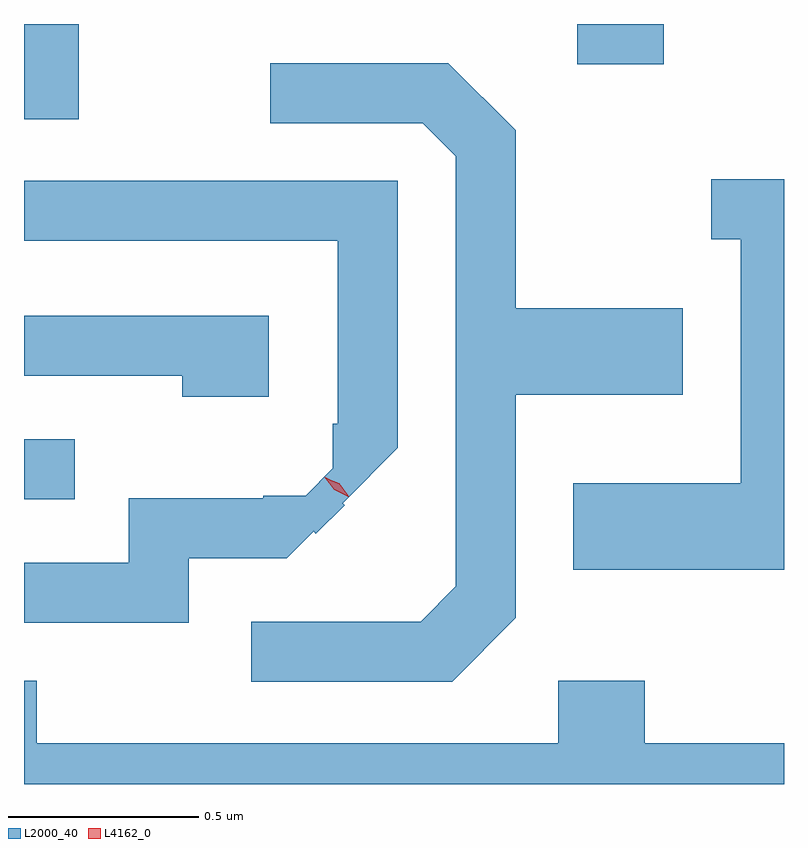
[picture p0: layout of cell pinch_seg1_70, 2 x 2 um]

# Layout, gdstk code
import gdstk
lib = gdstk.Library(unit=1e-6, precision=1e-09)
def R(c, l, rs):  # rectangles x0, y0, x1, y1
    for r in rs: c.add(gdstk.rectangle(r[:2], r[2:], *l))
def P(c, l, *ps):  # polygons
    for p in ps: c.add(gdstk.Polygon(p, *l))
L2000_40 = (2000, 40)
L4162_0 = (4162, 0)

pinch_seg1_70 = lib.new_cell('pinch_seg1_70')
R(pinch_seg1_70, L2000_40, [(1298.455,962.646,1298.588,962.804), (1298.455,963.646,1298.599,963.897), (1299.911,963.791,1300.139,963.897)])
P(pinch_seg1_70, L2000_40, [(1299.749,962.334),(1299.749,962.921),(1300.189,962.921),(1300.189,963.149),(1299.749,963.149),(1299.749,963.617),(1299.572,963.794),(1299.103,963.794),(1299.103,963.636),(1299.504,963.636),(1299.591,963.549),(1299.591,962.417),(1299.499,962.324),(1299.053,962.324),(1299.053,962.166),(1299.582,962.166)],
  [(1300.455,963.489),(1300.263,963.489),(1300.263,963.331),(1300.341,963.331),(1300.341,962.689),(1299.901,962.689),(1299.901,962.461),(1300.455,962.461)],
  [(1298.889,962.491),(1299.147,962.491),(1299.217,962.562),(1299.223,962.555),(1299.299,962.631),(1299.294,962.636),(1299.439,962.782),(1299.439,963.484),(1298.455,963.484),(1298.455,963.326),(1299.281,963.326),(1299.281,962.845),(1299.268,962.845),(1299.268,962.728),(1299.196,962.656),(1299.085,962.656),(1299.085,962.649),(1298.731,962.649),(1298.731,962.479),(1298.455,962.479),(1298.455,962.321),(1298.889,962.321)],
  [(1299.099,963.129),(1298.455,963.129),(1298.455,962.971),(1298.871,962.971),(1298.871,962.916),(1299.099,962.916)],
  [(1300.455,962.004),(1300.089,962.004),(1300.089,962.169),(1299.861,962.169),(1299.861,962.004),(1298.489,962.004),(1298.489,962.169),(1298.455,962.169),(1298.455,961.897),(1300.455,961.897)])
P(pinch_seg1_70, L4162_0, [(1299.308,962.653),(1299.271,962.672),(1299.245,962.705),(1299.245,962.706),(1299.245,962.706),(1299.283,962.687),(1299.309,962.654),(1299.309,962.653)],
  [(1299.304,962.658),(1299.272,962.673),(1299.25,962.702),(1299.25,962.702),(1299.251,962.702),(1299.284,962.688),(1299.305,962.659),(1299.305,962.658)])

lib.write_gds('pinch_seg1_70.gds')
